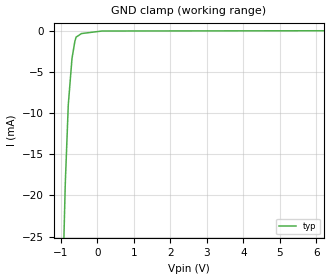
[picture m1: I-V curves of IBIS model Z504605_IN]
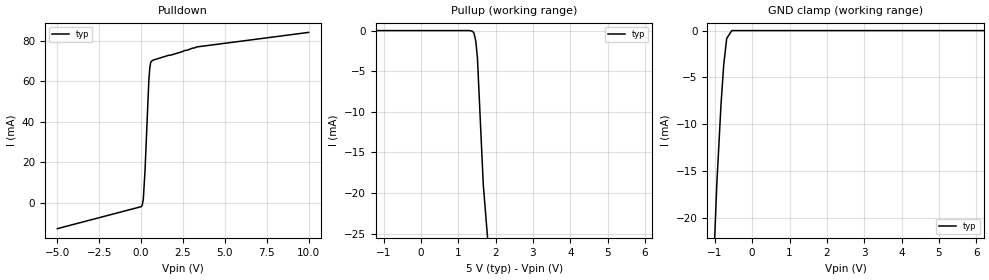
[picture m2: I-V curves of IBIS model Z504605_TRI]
| YOU ARE ONLY AUTHORIZED TO USE THIS SOFTWARE
| ACCORDING TO LICENSOR'S LICENSE RESTRICTIONS.
[IBIS Ver] 3.1
[File Name] sn74ls241dw.ibs
[File Rev] 2.0
[Source] Measured and created by ICX Technology
[Date] Friday 7/14/00 9:08:18 AM
[Copyright]
| (C) COPYRIGHT 1993-2000
| MENTOR GRAPHICS CORPORATION
| ICX STANDARD LIBRARY, ICX PROJECT MODELING,
| ICX CUSTOM MODELING, ICX VENDOR MODEL
| ALL RIGHTS RESERVED.
| THE FOLLOWING ARE TRADEMARKS OR SERVICE MARKS OF
| MENTOR GRAPHICS CORPORATION:ICX (R), ICX STANDARD
| LIBRARY(R), ICX PROJECT MODELING(R), ICX CUSTOM
| MODELING(R), qualityIBIS(TM), MODELVIEWER(TM),
| AND MODELEDITOR(TM)
| ALL COPIES OF SOFTWARE, INCLUDING BUT NOT LIMITED TO
| ANY MODIFICATIONS, ENHANCEMENTS OR DERIVATIVE WORKS,
| MUST CONTAIN ALL MENTOR GRAPHICS CORPORATION'S
| NOTICES AND LEGENDS, INCLUDING THOSE EMBEDDED IN
| SOFTWARE AND THOSE AFFIXED TO SOFTWARE MEDIUM
| AND CONTAINER, AS RECEIVED FROM MENTOR GRAPHICS
| CORPORATION.
|  ZAP Model Builder 2.7
[Component] SN74LS241DW
[Manufacturer] OnSemiconductor
[Package]
| variable   typ   min   max
R_pkg  .216ohms NA NA
L_pkg  5.76nH NA NA
C_pkg  2.193pF NA NA
[Pin] signal_name  model_name  R_pin  L_pin C_pin
1 _G1 Z504605_IN .232 9.76n 3.179p
2 A0 Z504605_IN .224 7.26n 2.686p
3 Y7 Z504605_TRI .216 5.26n 2.193p
4 A1 Z504605_IN .208 3.76n 1.7p
5 Y6 Z504605_TRI .2 2.76n 1.207p
6 A2 Z504605_IN .2 2.76n 1.207p
7 Y5 Z504605_TRI .208 3.76n 1.7p
8 A3 Z504605_IN .216 5.26n 2.193p
9 Y4 Z504605_TRI .224 7.26n 2.686p
10 GND GND .232 9.76n 3.179p
11 A4 Z504605_IN .232 9.76n 3.179p
12 Y3 Z504605_TRI .224 7.26n 2.686p
13 A5 Z504605_IN .216 5.26n 2.193p
14 Y2 Z504605_TRI .208 3.76n 1.7p
15 A6 Z504605_IN .2 2.76n 1.207p
16 Y1 Z504605_TRI .2 2.76n 1.207p
17 A7 Z504605_IN .208 3.76n 1.7p
18 Y0 Z504605_TRI .216 5.26n 2.193p
19 G2 Z504605_IN .224 7.26n 2.686p
20 VCC POWER .232 9.76n 3.179p
| Models and submodels in the file (2): Z504605_IN (Input), Z504605_TRI (3-state)
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| (C) COPYRIGHT 1993-2000
| MENTOR GRAPHICS CORPORATION
| ICX STANDARD LIBRARY, ICX PROJECT MODELING,
| ICX CUSTOM MODELING, ICX VENDOR MODEL
| ALL RIGHTS RESERVED.
| THE FOLLOWING ARE TRADEMARKS OR SERVICE MARKS OF
| MENTOR GRAPHICS CORPORATION:ICX (R), ICX STANDARD
| LIBRARY(R), ICX PROJECT MODELING(R), ICX CUSTOM
| MODELING(R), qualityIBIS(TM), MODELVIEWER(TM),
| AND MODELEDITOR(TM)
| ALL COPIES OF SOFTWARE, INCLUDING BUT NOT LIMITED TO
| ANY MODIFICATIONS, ENHANCEMENTS OR DERIVATIVE WORKS,
| MUST CONTAIN ALL MENTOR GRAPHICS CORPORATION'S
| NOTICES AND LEGENDS, INCLUDING THOSE EMBEDDED IN
| SOFTWARE AND THOSE AFFIXED TO SOFTWARE MEDIUM
| AND CONTAINER, AS RECEIVED FROM MENTOR GRAPHICS
| CORPORATION.
| Model Application Version 1.89 2/18/99.
[Model] Z504605_IN
Model_type Input
Vinl = 800.0mV
Vinh = 2.000V
C_comp 4.000pF NA NA
| variable typ   min   max
[Voltage Range] 5.000V NA NA
[GND Clamp Reference] 0.000V NA NA
[POWER Clamp Reference] 5.000V NA NA
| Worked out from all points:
|   GND clamp passes 1 mA (typ) near -0.60 V on its own axis
[GND Clamp]
-5V       -747.6mA   NA         NA
-878.7mV  -18.65mA   NA         NA
-795.8mV  -8.998mA   NA         NA
-694.2mV  -3.378mA   NA         NA
-615.2mV  -1.292mA   NA         NA
-581.1mV  -794.8uA   NA         NA
-435.8mV  -360.3uA   NA         NA
132.1mV   -50.93uA   NA         NA
10V       934.6nA    NA         NA
[POWER Clamp]
-5V       0A         NA         NA
10V       0A         NA         NA
| (C) COPYRIGHT 1993-2000
| MENTOR GRAPHICS CORPORATION
| ICX STANDARD LIBRARY, ICX PROJECT MODELING,
| ICX CUSTOM MODELING, ICX VENDOR MODEL
| ALL RIGHTS RESERVED.
| THE FOLLOWING ARE TRADEMARKS OR SERVICE MARKS OF
| MENTOR GRAPHICS CORPORATION:ICX (R), ICX STANDARD
| LIBRARY(R), ICX PROJECT MODELING(R), ICX CUSTOM
| MODELING(R), qualityIBIS(TM), MODELVIEWER(TM),
| AND MODELEDITOR(TM)
| ALL COPIES OF SOFTWARE, INCLUDING BUT NOT LIMITED TO
| ANY MODIFICATIONS, ENHANCEMENTS OR DERIVATIVE WORKS,
| MUST CONTAIN ALL MENTOR GRAPHICS CORPORATION'S
| NOTICES AND LEGENDS, INCLUDING THOSE EMBEDDED IN
| SOFTWARE AND THOSE AFFIXED TO SOFTWARE MEDIUM
| AND CONTAINER, AS RECEIVED FROM MENTOR GRAPHICS
| CORPORATION.
| Model Application Version 1.89 2/18/99.
[Model] Z504605_TRI
Model_type 3-state
Vref=588.0mV
Rref=588.5ohms
Cref=45.00pF
Vmeas=1.300V
C_comp 8.000pF NA NA
| variable typ   min   max
[Voltage Range] 5.000V NA NA
[POWER Clamp Reference] 5.000V NA NA
[Pullup Reference] 5.000V NA NA
[Pulldown Reference] 0.000V NA NA
[GND Clamp Reference] 0.000V NA NA
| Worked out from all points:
|   slope of the pulldown table from 0 to 0.75 V, typ, clamps not added: 10.3 ohm
|   GND clamp passes 1 mA (typ) near -0.69 V on its own axis
[GND Clamp]
-5V       -704.9mA   NA         NA
-1.299V   -59.35mA   NA         NA
-1.108V   -32.66mA   NA         NA
-947mV    -16.42mA   NA         NA
-834.8mV  -7.9mA     NA         NA
-761.7mV  -3.651mA   NA         NA
-682.2mV  -841.2uA   NA         NA
-545.8mV  0A         NA         NA
10V       0A         NA         NA
[Pulldown]
-5V       -12.84mA   NA         NA
10.07mV   -1.942mA   NA         NA
69.08mV   -1.181mA   NA         NA
130.9mV   1.572mA    NA         NA
233.1mV   15.64mA    NA         NA
461.3mV   60.31mA    NA         NA
517.6mV   66.6mA     NA         NA
572mV     69.39mA    NA         NA
611mV     69.96mA    NA         NA
712.8mV   70.57mA    NA         NA
3.296V    77.07mA    NA         NA
10V       84.3mA     NA         NA
[Pullup]
-5V       810.2nA    NA         NA
1.3V      810.2nA    NA         NA
1.383V    -89.36uA   NA         NA
1.421V    -308.7uA   NA         NA
1.47V     -1.285mA   NA         NA
1.513V    -3.284mA   NA         NA
1.67V     -18.93mA   NA         NA
10V       -494.1mA   NA         NA
[POWER Clamp]
-5V       0A         NA         NA
10V       0A         NA         NA
[Ramp]
| variable typ min max
dV/dt_r 2.016/8.940n NA NA
dV/dt_f 2.016/2.070n NA NA
R_load = 500.0Ohms
